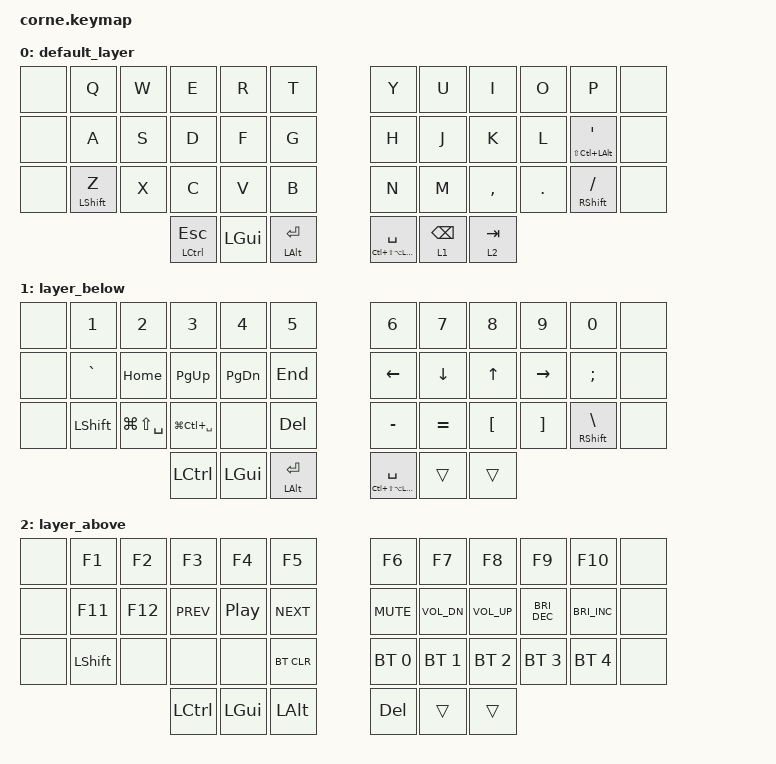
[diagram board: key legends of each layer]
/*
 * Copyright (c) 2020 The ZMK Contributors
 *
 * SPDX-License-Identifier: MIT
 * 
 * This is Fureigh adding a line just to prompt a rebuild.
 */

#include <behaviors.dtsi>
#include <dt-bindings/zmk/bt.h>
#include <dt-bindings/zmk/keys.h>

/ {
    behaviors {
        tp: tap_preferred {
            compatible = "zmk,behavior-hold-tap";
            label = "TAP_PREFERRED";
            #binding-cells = <2>;
            tapping-term-ms = <150>;
            quick-tap-ms = <0>;
            flavor = "tap-preferred";
            bindings = <&kp>, <&kp>;
        };
    };

    keymap {
        compatible = "zmk,keymap";

        default_layer {
            // -----------------------------------------------------------------------------------------
            // | TAB  |  Q  |  W  |  E  |  R  |    T    |   |  Y  |  U   |  I  |  O  |  P  | ESC |
            // | CTRL |  A  |  S  |  D  |  F  |    G    |   |  H  |  J   |  K  |  L  |  ;  |  '   |
            // | SHFT |  Z  |  X  |  C  |  V  |    B    |   |  N  |  M   |  ,  |  .  |  /  | SHFT |
            //                    | GUI | LWR | ALT/ENT |   | HYPER/SPC | BKSP  | RSE |

            bindings = <
&none  &kp Q        &kp W  &kp E             &kp R     &kp T             &kp Y                       &kp U            &kp I      &kp O    &kp P                          &none
&none  &kp A        &kp S  &kp D             &kp F     &kp G             &kp H                       &kp J            &kp K      &kp L    &tp LS(LC(LALT)) SINGLE_QUOTE  &none
&none  &tp LSHFT Z  &kp X  &kp C             &kp V     &kp B             &kp N                       &kp M            &kp COMMA  &kp DOT  &tp RSHIFT FSLH                &none
                           &tp LCTRL ESCAPE  &kp LGUI  &tp LALT ENTER    &tp LC(LS(LA(LGUI))) SPACE  &lt 1 BACKSPACE  &lt 2 TAB
            >;
        };

        layer_below {
            // -----------------------------------------------------------------------------------------
            // |      |  !  |  @  |  #  |  $  |    %     |   |  ^  |  &  |  *  |  (  |  )  |   \   |
            // |      |  1  |  2  |  3  |  4  |    5     |   |  -  |  =  |  `  |  [  |  ]  |  "|"  |
            // | SHFT |  6  |  7  |  8  |  9  |    0     |   |  _  |  +  |  ~  |  {  |  }  | RSHFT |
            //                     | GUI |     | ALT/ENT |   | HYPER/SPACE | BKSP |    |

            bindings = <
&none  &kp NUMBER_1    &kp NUMBER_2       &kp NUMBER_3       &kp NUMBER_4   &kp NUMBER_5    &kp NUMBER_6                &kp NUMBER_7  &kp NUMBER_8      &kp NUMBER_9       &kp NUMBER_0          &none
&none  &kp GRAVE       &kp HOME           &kp PG_UP          &kp PAGE_DOWN  &kp END         &kp LEFT                    &kp DOWN      &kp UP            &kp RIGHT          &kp SEMICOLON         &none
&none  &kp LEFT_SHIFT  &kp LG(LS(SPACE))  &kp LG(LC(SPACE))  &none          &kp DELETE      &kp MINUS                   &kp EQUAL     &kp LEFT_BRACKET  &kp RIGHT_BRACKET  &tp RSHIFT BACKSLASH  &none
                                          &kp LCTRL          &kp LGUI       &tp LALT RET    &tp LC(LS(LA(LGUI))) SPACE  &trans        &trans
            >;
        };

        layer_above {
            // -----------------------------------------------------------------------------------------
            // |       |  F1  |  F2  |  F3  |  F4  |  F5 |            |  F6  |  F7  |  F8  |  F9  |  F10  |   |
            // |       | Prev | Next | Vol - | Vol + | Play/Pause |   |      | LFT | DWN |  UP | RGT |     |     |
            // | BTCLR | BT1 | BT2 | BT3 | BT4 | BT5 |   |            |     |     |     |     |     |     |
            //                    |     |     |    |                  |     |     |     |

            bindings = <
&none  &kp F1      &kp F2   &kp F3      &kp F4            &kp F5        &kp F6        &kp F7        &kp F8        &kp F9                &kp F10               &none
&none  &kp F11     &kp F12  &kp C_PREV  &kp C_PLAY_PAUSE  &kp C_NEXT    &kp K_MUTE    &kp C_VOL_DN  &kp C_VOL_UP  &kp C_BRIGHTNESS_DEC  &kp C_BRIGHTNESS_INC  &none
&none  &kp LSHIFT  &none    &none       &none             &bt BT_CLR    &bt BT_SEL 0  &bt BT_SEL 1  &bt BT_SEL 2  &bt BT_SEL 3          &bt BT_SEL 4          &none
                            &kp LCTRL   &kp LEFT_GUI      &kp LALT      &kp DELETE    &trans        &trans
            >;
        };
    };
};
